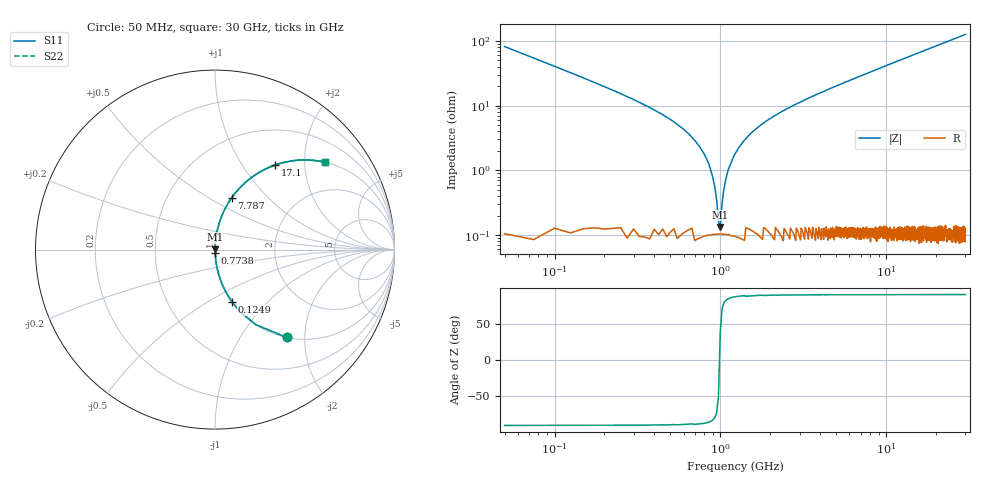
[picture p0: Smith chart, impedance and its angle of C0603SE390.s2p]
!	AVX Thin Film Operation 	Date: April 2014
!	Description: Accu-P® Series, Thin Film  SMD RF Capacitor
!	Part Number: 06033K390FBSTR
# MHZ S MA R 50
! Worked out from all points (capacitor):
!   1201 points, 50 MHz to 30 GHz, reference 50 ohm
!   read as one part in series: C = 39 pF near 199.8 MHz
!   lowest |Z| = 133 mohm at 998.4 MHz (marker M1)
!   series resonance near 988.3 MHz, so ESL is about 670 pH
!   S11 on the Smith chart (normalised r, x): 50 MHz: 1.00, -1.63; 124.9 MHz: 1.00, -0.64; 773.8 MHz: 1.00, -0.04; 7.787 GHz: 1.00, +0.64; 17.1 GHz: 1.00, +1.42; 30 GHz: 1.00, +2.50
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50  0.631 -50.8  0.775 39.1  0.775 39.1  0.631 -50.8
124.875  0.306 -72.0  0.951 17.8  0.951 17.8  0.306 -72.0
299.583  0.123 -82.5  0.991 7.0  0.991 7.0  0.123 -82.5
649  0.036 -86.2  0.998 2.0  0.998 2.0  0.036 -86.2
773.792  0.02 -85.8  0.999 1.2  0.999 1.2  0.02 -85.8
873.625  0.01 -83.4  0.999 0.6  0.999 0.6  0.01 -83.4
923.542  0.005694 -78.9  0.999 0.3  0.999 0.3  0.005694 -78.9
998.417  0.001361 38.2  0.999 -0.0  0.999 -0.0  0.001361 38.2
1098.25  0.008786 82.5  0.999 -0.5  0.999 -0.5  0.008786 82.5
1223.042  0.018 85.5  0.999 -1.0  0.999 -1.0  0.018 85.5
1372.792  0.028 86.2  0.999 -1.6  0.999 -1.6  0.028 86.2
1622.375  0.043 86.1  0.998 -2.4  0.998 -2.4  0.043 86.1
1946.833  0.06 85.5  0.997 -3.5  0.997 -3.5  0.06 85.5
3119.875  0.116 82.8  0.992 -6.7  0.992 -6.7  0.116 82.8
5041.667  0.198 78.3  0.979 -11.4  0.979 -11.4  0.198 78.3
7787.083  0.305 72.1  0.951 -17.7  0.951 -17.7  0.305 72.1
10058.29  0.384 67.3  0.922 -22.6  0.922 -22.6  0.384 67.3
15025  0.53 57.9  0.847 -32.0  0.847 -32.0  0.53 57.9
17096.54  0.58 54.5  0.814 -35.4  0.814 -35.4  0.58 54.5
20016.67  0.64 50.1  0.767 -39.8  0.767 -39.8  0.64 50.1
25033.29  0.722 43.7  0.691 -46.2  0.691 -46.2  0.722 43.7
30000  0.781 38.6  0.624 -51.4  0.624 -51.4  0.781 38.6
